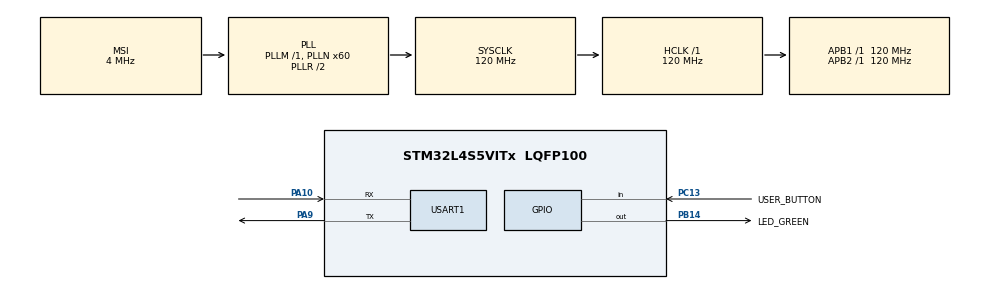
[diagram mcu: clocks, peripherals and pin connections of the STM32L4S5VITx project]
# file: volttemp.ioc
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ADC1.Channel-0\#ChannelRegularConversion=ADC_CHANNEL_VREFINT
ADC1.NbrOfConversionFlag=1
ADC1.OffsetNumber-0\#ChannelRegularConversion=ADC_OFFSET_NONE
ADC1.Rank-0\#ChannelRegularConversion=1
ADC1.SamplingTime-0\#ChannelRegularConversion=ADC_SAMPLETIME_2CYCLES_5
ADC1.master=1
Mcu.Family=STM32L4
Mcu.Name=STM32L4S5VITx
Mcu.Package=LQFP100
NVIC.PriorityGroup=NVIC_PRIORITYGROUP_4
PA10.Mode=Asynchronous
PA10.Signal=USART1_RX
PA9.Mode=Asynchronous
PA9.Signal=USART1_TX
PB14.GPIO_Label=LED_GREEN
PB14.Signal=GPIO_Output
PC13.GPIO_Label=USER_BUTTON
PC13.Signal=GPIO_Input
ProjectManager.HeapSize=0x200
ProjectManager.StackSize=0x400
ProjectManager.TargetToolchain=STM32CubeIDE
RCC.ADCFreq_Value=48000000
RCC.AHBFreq_Value=120000000
RCC.APB1Freq_Value=120000000
RCC.APB1TimFreq_Value=120000000
RCC.APB2Freq_Value=120000000
RCC.APB2TimFreq_Value=120000000
RCC.CortexFreq_Value=120000000
RCC.HCLKFreq_Value=120000000
RCC.HSE_VALUE=8000000
RCC.HSI48_VALUE=48000000
RCC.HSI_VALUE=16000000
RCC.LSE_VALUE=32768
RCC.MSI_VALUE=4000000
RCC.PLLN=60
RCC.PLLSAI1N=24
RCC.SYSCLKFreq_VALUE=120000000
RCC.SYSCLKSource=RCC_SYSCLKSOURCE_PLLCLK
RCC.USBFreq_Value=48000000
RCC.VCOOutputFreq_Value=240000000
TIM2.Period=2000
TIM2.Prescaler=60000
USART1.VirtualMode-Asynchronous=VM_ASYNC
VP_ADC1_Vref_Input.Mode=IN-Vrefint
VP_TIM2_VS_ClockSourceINT.Mode=Internal
board=B-L4S5I-IOT01A

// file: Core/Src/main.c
/* USER CODE BEGIN Header */
/**
 ******************************************************************************
 * @file           : main.c
 * @brief          : Main program body
 ******************************************************************************
 * @attention
 *
 * <h2><center>&copy; Copyright (c) 2021 STMicroelectronics.
 * All rights reserved.</center></h2>
 *
 * This software component is licensed by ST under BSD 3-Clause license,
 * the "License"; You may not use this file except in compliance with the
 * License. You may obtain a copy of the License at:
 *                        opensource.org/licenses/BSD-3-Clause
 *
 ******************************************************************************
 */
/* USER CODE END Header */
#include "main.h"

/* USER CODE BEGIN PD */
#define VREFINT_CAL_Addr 0x1FFF75AA
#define TS_CAL1_Addr 0x1FFF75A8
#define TS_CAL2_Addr 0x1FFF75CA
/* USER CODE END PD */

ADC_HandleTypeDef hadc1;

TIM_HandleTypeDef htim2;

UART_HandleTypeDef huart1;

void SystemClock_Config(void);
static void MX_GPIO_Init(void);
static void MX_ADC1_Init(void);
static void MX_TIM2_Init(void);
static void MX_USART1_UART_Init(void);

/* USER CODE BEGIN 0 */

// function for toggling the ADC channel between measuringvoltage or temperature and performing the necessary conversion calculations
uint16_t lab2_adc_func(int toggle_bit) {
	ADC_ChannelConfTypeDef sConfig = { 0 };

	if (toggle_bit == 0) { // if toggle/buttin is low measure voltage
		sConfig.Channel = ADC_CHANNEL_VREFINT; // sConfig.Channel is the only aspect of the ADC that chnages for voltage or temp
		sConfig.Rank = ADC_REGULAR_RANK_1;
		sConfig.SamplingTime = ADC_SAMPLETIME_2CYCLES_5;
		sConfig.SingleDiff = ADC_SINGLE_ENDED;
		sConfig.OffsetNumber = ADC_OFFSET_NONE;
		sConfig.Offset = 0;
		if (HAL_ADC_ConfigChannel(&hadc1, &sConfig) != HAL_OK) {
			Error_Handler();
		}
		HAL_ADC_Start(&hadc1);
		HAL_ADC_PollForConversion(&hadc1, 1000);
		uint16_t raw = HAL_ADC_GetValue(&hadc1);
		uint16_t test = *(uint16_t*) VREFINT_CAL_Addr;
		uint16_t vdda = 3000 * test / raw;
		return vdda;
	}
	if (toggle_bit == 1) { // if toggle/button is high measure temperature
		sConfig.Channel = ADC_CHANNEL_TEMPSENSOR;
		sConfig.Rank = ADC_REGULAR_RANK_1;
		sConfig.SamplingTime = ADC_SAMPLETIME_2CYCLES_5;
		sConfig.SingleDiff = ADC_SINGLE_ENDED;
		sConfig.OffsetNumber = ADC_OFFSET_NONE;
		sConfig.Offset = 0;
		if (HAL_ADC_ConfigChannel(&hadc1, &sConfig) != HAL_OK) {
			Error_Handler();
		}
		HAL_ADC_Start(&hadc1);
		HAL_ADC_PollForConversion(&hadc1, 1000);
		uint16_t raw = HAL_ADC_GetValue(&hadc1);
		uint16_t cal1 = *(uint16_t*) TS_CAL1_Addr;
		uint16_t cal2 = *(uint16_t*) TS_CAL2_Addr;
		uint16_t temperature = (raw - cal1) * ((130 - 30) / (cal2 - cal1)) + 30;
		return temperature;
	}
}
/* USER CODE END 0 */

int main(void) {

	/* MCU Configuration--------------------------------------------------------*/

	/* Reset of all peripherals, Initializes the Flash interface and the Systick. */
	HAL_Init();

	/* Configure the system clock */
	SystemClock_Config();

	/* Initialize all configured peripherals */
	MX_GPIO_Init();
	MX_ADC1_Init();
	MX_TIM2_Init();
	MX_USART1_UART_Init();
	/* USER CODE BEGIN 2 */

	int toggle_bit = 0; // keep track of the state for whether measuring voltage or temperature, initialized to 0 to measure voltage

	/* USER CODE END 2 */

	/* Infinite loop */
	while (1) {

		/* USER CODE BEGIN 3 */
		uint16_t value = lab2_adc_func(toggle_bit); // output value for what is being measured

		// toggle led2 using blue user button
		if (HAL_GPIO_ReadPin(USER_BUTTON_GPIO_Port, USER_BUTTON_Pin) == 0) { // button is active low
			HAL_GPIO_TogglePin(LED_GREEN_GPIO_Port, LED_GREEN_Pin);
			if (toggle_bit == 1)
				toggle_bit = 0;
			else
				toggle_bit = 1;
			value = lab2_adc_func(toggle_bit);
			HAL_Delay(500);
		}
	}
	/* USER CODE END 3 */
}

void SystemClock_Config(void) {
	RCC_OscInitTypeDef RCC_OscInitStruct = { 0 };
	RCC_ClkInitTypeDef RCC_ClkInitStruct = { 0 };
	RCC_PeriphCLKInitTypeDef PeriphClkInit = { 0 };

	/** Configure the main internal regulator output voltage
	 */
	if (HAL_PWREx_ControlVoltageScaling(PWR_REGULATOR_VOLTAGE_SCALE1_BOOST)
			!= HAL_OK) {
		Error_Handler();
	}
	/** Initializes the RCC Oscillators according to the specified parameters
	 * in the RCC_OscInitTypeDef structure.
	 */
	RCC_OscInitStruct.OscillatorType = RCC_OSCILLATORTYPE_MSI;
	RCC_OscInitStruct.MSIState = RCC_MSI_ON;
	RCC_OscInitStruct.MSICalibrationValue = 0;
	RCC_OscInitStruct.MSIClockRange = RCC_MSIRANGE_6;
	RCC_OscInitStruct.PLL.PLLState = RCC_PLL_ON;
	RCC_OscInitStruct.PLL.PLLSource = RCC_PLLSOURCE_MSI;
	RCC_OscInitStruct.PLL.PLLM = 1;
	RCC_OscInitStruct.PLL.PLLN = 60;
	RCC_OscInitStruct.PLL.PLLP = RCC_PLLP_DIV2;
	RCC_OscInitStruct.PLL.PLLQ = RCC_PLLQ_DIV2;
	RCC_OscInitStruct.PLL.PLLR = RCC_PLLR_DIV2;
	if (HAL_RCC_OscConfig(&RCC_OscInitStruct) != HAL_OK) {
		Error_Handler();
	}
	/** Initializes the CPU, AHB and APB buses clocks
	 */
	RCC_ClkInitStruct.ClockType = RCC_CLOCKTYPE_HCLK | RCC_CLOCKTYPE_SYSCLK
			| RCC_CLOCKTYPE_PCLK1 | RCC_CLOCKTYPE_PCLK2;
	RCC_ClkInitStruct.SYSCLKSource = RCC_SYSCLKSOURCE_PLLCLK;
	RCC_ClkInitStruct.AHBCLKDivider = RCC_SYSCLK_DIV1;
	RCC_ClkInitStruct.APB1CLKDivider = RCC_HCLK_DIV1;
	RCC_ClkInitStruct.APB2CLKDivider = RCC_HCLK_DIV1;

	if (HAL_RCC_ClockConfig(&RCC_ClkInitStruct, FLASH_LATENCY_5) != HAL_OK) {
		Error_Handler();
	}
	PeriphClkInit.PeriphClockSelection = RCC_PERIPHCLK_USART1
			| RCC_PERIPHCLK_ADC;
	PeriphClkInit.Usart1ClockSelection = RCC_USART1CLKSOURCE_PCLK2;
	PeriphClkInit.AdcClockSelection = RCC_ADCCLKSOURCE_PLLSAI1;
	PeriphClkInit.PLLSAI1.PLLSAI1Source = RCC_PLLSOURCE_MSI;
	PeriphClkInit.PLLSAI1.PLLSAI1M = 1;
	PeriphClkInit.PLLSAI1.PLLSAI1N = 24;
	PeriphClkInit.PLLSAI1.PLLSAI1P = RCC_PLLP_DIV2;
	PeriphClkInit.PLLSAI1.PLLSAI1Q = RCC_PLLQ_DIV2;
	PeriphClkInit.PLLSAI1.PLLSAI1R = RCC_PLLR_DIV2;
	PeriphClkInit.PLLSAI1.PLLSAI1ClockOut = RCC_PLLSAI1_ADC1CLK;
	if (HAL_RCCEx_PeriphCLKConfig(&PeriphClkInit) != HAL_OK) {
		Error_Handler();
	}
}

static void MX_ADC1_Init(void) {

	ADC_ChannelConfTypeDef sConfig = { 0 };

	/** Common config
	 */
	hadc1.Instance = ADC1;
	hadc1.Init.ClockPrescaler = ADC_CLOCK_ASYNC_DIV1;
	hadc1.Init.Resolution = ADC_RESOLUTION_12B;
	hadc1.Init.DataAlign = ADC_DATAALIGN_RIGHT;
	hadc1.Init.ScanConvMode = ADC_SCAN_DISABLE;
	hadc1.Init.EOCSelection = ADC_EOC_SINGLE_CONV;
	hadc1.Init.LowPowerAutoWait = DISABLE;
	hadc1.Init.ContinuousConvMode = DISABLE;
	hadc1.Init.NbrOfConversion = 1;
	hadc1.Init.DiscontinuousConvMode = DISABLE;
	hadc1.Init.ExternalTrigConv = ADC_SOFTWARE_START;
	hadc1.Init.ExternalTrigConvEdge = ADC_EXTERNALTRIGCONVEDGE_NONE;
	hadc1.Init.DMAContinuousRequests = DISABLE;
	hadc1.Init.Overrun = ADC_OVR_DATA_PRESERVED;
	hadc1.Init.OversamplingMode = DISABLE;
	if (HAL_ADC_Init(&hadc1) != HAL_OK) {
		Error_Handler();
	}
	/** Configure Regular Channel
	 */
	sConfig.Channel = ADC_CHANNEL_VREFINT;
	sConfig.Rank = ADC_REGULAR_RANK_1;
	sConfig.SamplingTime = ADC_SAMPLETIME_2CYCLES_5;
	sConfig.SingleDiff = ADC_SINGLE_ENDED;
	sConfig.OffsetNumber = ADC_OFFSET_NONE;
	sConfig.Offset = 0;
	if (HAL_ADC_ConfigChannel(&hadc1, &sConfig) != HAL_OK) {
		Error_Handler();
	}

}

static void MX_TIM2_Init(void) {

	TIM_ClockConfigTypeDef sClockSourceConfig = { 0 };
	TIM_MasterConfigTypeDef sMasterConfig = { 0 };

	htim2.Instance = TIM2;
	htim2.Init.Prescaler = 60000;
	htim2.Init.CounterMode = TIM_COUNTERMODE_UP;
	htim2.Init.Period = 2000;
	htim2.Init.ClockDivision = TIM_CLOCKDIVISION_DIV1;
	htim2.Init.AutoReloadPreload = TIM_AUTORELOAD_PRELOAD_DISABLE;
	if (HAL_TIM_Base_Init(&htim2) != HAL_OK) {
		Error_Handler();
	}
	sClockSourceConfig.ClockSource = TIM_CLOCKSOURCE_INTERNAL;
	if (HAL_TIM_ConfigClockSource(&htim2, &sClockSourceConfig) != HAL_OK) {
		Error_Handler();
	}
	sMasterConfig.MasterOutputTrigger = TIM_TRGO_RESET;
	sMasterConfig.MasterSlaveMode = TIM_MASTERSLAVEMODE_DISABLE;
	if (HAL_TIMEx_MasterConfigSynchronization(&htim2, &sMasterConfig)
			!= HAL_OK) {
		Error_Handler();
	}

}

static void MX_USART1_UART_Init(void) {

	huart1.Instance = USART1;
	huart1.Init.BaudRate = 115200;
	huart1.Init.WordLength = UART_WORDLENGTH_8B;
	huart1.Init.StopBits = UART_STOPBITS_1;
	huart1.Init.Parity = UART_PARITY_NONE;
	huart1.Init.Mode = UART_MODE_TX_RX;
	huart1.Init.HwFlowCtl = UART_HWCONTROL_NONE;
	huart1.Init.OverSampling = UART_OVERSAMPLING_16;
	huart1.Init.OneBitSampling = UART_ONE_BIT_SAMPLE_DISABLE;
	huart1.Init.ClockPrescaler = UART_PRESCALER_DIV1;
	huart1.AdvancedInit.AdvFeatureInit = UART_ADVFEATURE_NO_INIT;
	if (HAL_UART_Init(&huart1) != HAL_OK) {
		Error_Handler();
	}
	if (HAL_UARTEx_SetTxFifoThreshold(&huart1, UART_TXFIFO_THRESHOLD_1_8)
			!= HAL_OK) {
		Error_Handler();
	}
	if (HAL_UARTEx_SetRxFifoThreshold(&huart1, UART_RXFIFO_THRESHOLD_1_8)
			!= HAL_OK) {
		Error_Handler();
	}
	if (HAL_UARTEx_DisableFifoMode(&huart1) != HAL_OK) {
		Error_Handler();
	}

}

static void MX_GPIO_Init(void) {
	GPIO_InitTypeDef GPIO_InitStruct = { 0 };

	/* GPIO Ports Clock Enable */
	__HAL_RCC_GPIOC_CLK_ENABLE();
	__HAL_RCC_GPIOB_CLK_ENABLE();
	__HAL_RCC_GPIOA_CLK_ENABLE();

	/*Configure GPIO pin Output Level */
	HAL_GPIO_WritePin(LED_GREEN_GPIO_Port, LED_GREEN_Pin, GPIO_PIN_RESET);

	/*Configure GPIO pin : USER_BUTTON_Pin */
	GPIO_InitStruct.Pin = USER_BUTTON_Pin;
	GPIO_InitStruct.Mode = GPIO_MODE_INPUT;
	GPIO_InitStruct.Pull = GPIO_NOPULL;
	HAL_GPIO_Init(USER_BUTTON_GPIO_Port, &GPIO_InitStruct);

	/*Configure GPIO pin : LED_GREEN_Pin */
	GPIO_InitStruct.Pin = LED_GREEN_Pin;
	GPIO_InitStruct.Mode = GPIO_MODE_OUTPUT_PP;
	GPIO_InitStruct.Pull = GPIO_NOPULL;
	GPIO_InitStruct.Speed = GPIO_SPEED_FREQ_LOW;
	HAL_GPIO_Init(LED_GREEN_GPIO_Port, &GPIO_InitStruct);

}

void Error_Handler(void) {
	__disable_irq();
	while (1) {
	}
}

/************************ (C) COPYRIGHT STMicroelectronics *****END OF FILE****/
